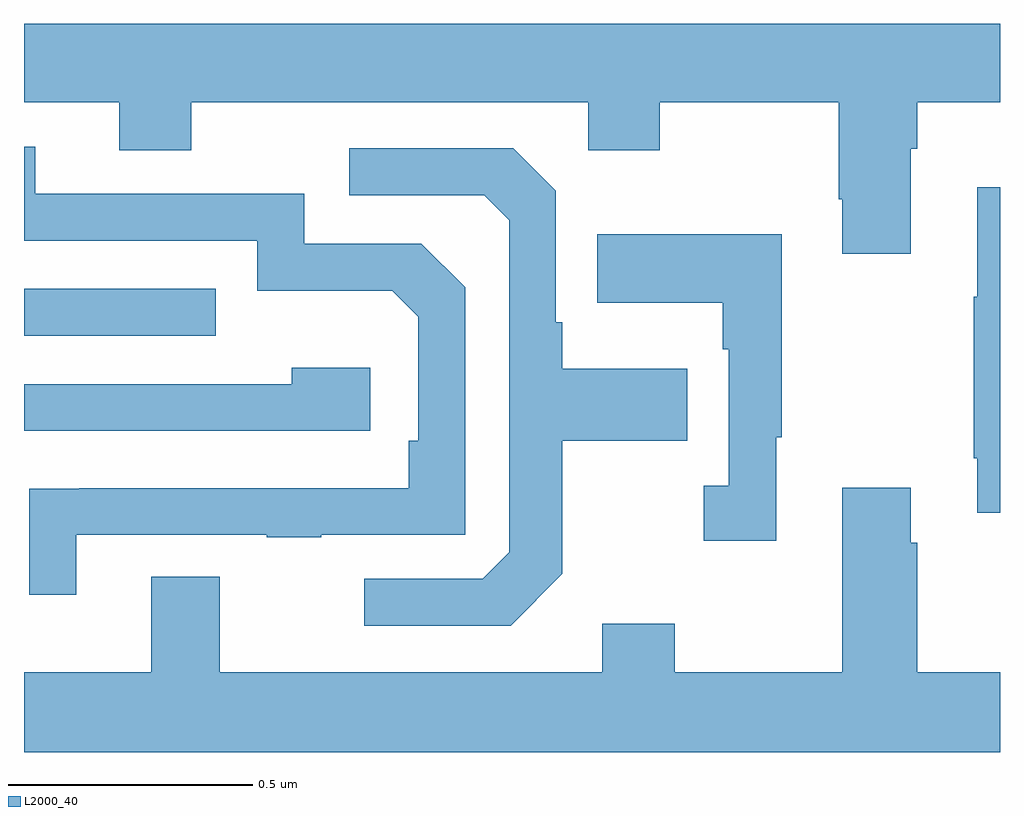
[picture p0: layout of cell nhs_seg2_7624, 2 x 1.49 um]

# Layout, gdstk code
import gdstk
lib = gdstk.Library(unit=1e-6, precision=1e-09)
def R(c, l, rs):  # rectangles x0, y0, x1, y1
    for r in rs: c.add(gdstk.rectangle(r[:2], r[2:], *l))
def P(c, l, *ps):  # polygons
    for p in ps: c.add(gdstk.Polygon(p, *l))
L2000_40 = (2000, 40)

nhs_seg2_7624 = lib.new_cell('nhs_seg2_7624')
R(nhs_seg2_7624, L2000_40, [(206,643.161,206.393,643.257)])
P(nhs_seg2_7624, L2000_40, [(207.817,643.544),(207.83,643.544),(207.83,643.64),(208,643.64),(208,643.8),(206,643.8),(206,643.64),(206.195,643.64),(206.195,643.541),(206.343,643.541),(206.343,643.64),(207.156,643.64),(207.156,643.541),(207.303,643.541),(207.303,643.64),(207.67,643.64),(207.67,643.441),(207.677,643.441),(207.677,643.329),(207.817,643.329)],
  [(206.107,642.753),(206.497,642.753),(206.497,642.748),(206.609,642.748),(206.609,642.753),(206.904,642.753),(206.904,643.26),(206.814,643.35),(206.574,643.35),(206.574,643.452),(206.023,643.452),(206.023,643.548),(206,643.548),(206,643.356),(206.478,643.356),(206.478,643.253),(206.755,643.253),(206.808,643.2),(206.808,642.946),(206.788,642.946),(206.788,642.849),(206.113,642.849),(206.113,642.848),(206.011,642.848),(206.011,642.63),(206.107,642.63)],
  [(207.103,642.673),(207.103,642.946),(207.359,642.946),(207.359,643.093),(207.103,643.093),(207.103,643.189),(207.09,643.189),(207.09,643.458),(207.003,643.545),(206.667,643.545),(206.667,643.449),(206.943,643.449),(206.994,643.398),(206.994,642.717),(206.94,642.663),(206.697,642.663),(206.697,642.567),(206.997,642.567)],
  [(208,643.465),(207.953,643.465),(207.953,643.241),(207.946,643.241),(207.946,642.91),(207.953,642.91),(207.953,642.798),(208,642.798)],
  [(207.541,642.953),(207.553,642.953),(207.553,643.369),(207.175,643.369),(207.175,643.229),(207.432,643.229),(207.432,643.133),(207.444,643.133),(207.444,642.854),(207.393,642.854),(207.393,642.741),(207.541,642.741)],
  [(206.71,643.096),(206.549,643.096),(206.549,643.062),(206,643.062),(206,642.966),(206.71,642.966)],
  [(208,642.472),(207.83,642.472),(207.83,642.737),(207.817,642.737),(207.817,642.85),(207.677,642.85),(207.677,642.472),(207.333,642.472),(207.333,642.571),(207.185,642.571),(207.185,642.472),(206.401,642.472),(206.401,642.667),(206.261,642.667),(206.261,642.472),(206,642.472),(206,642.308),(208,642.308)])

lib.write_gds('nhs_seg2_7624.gds')
